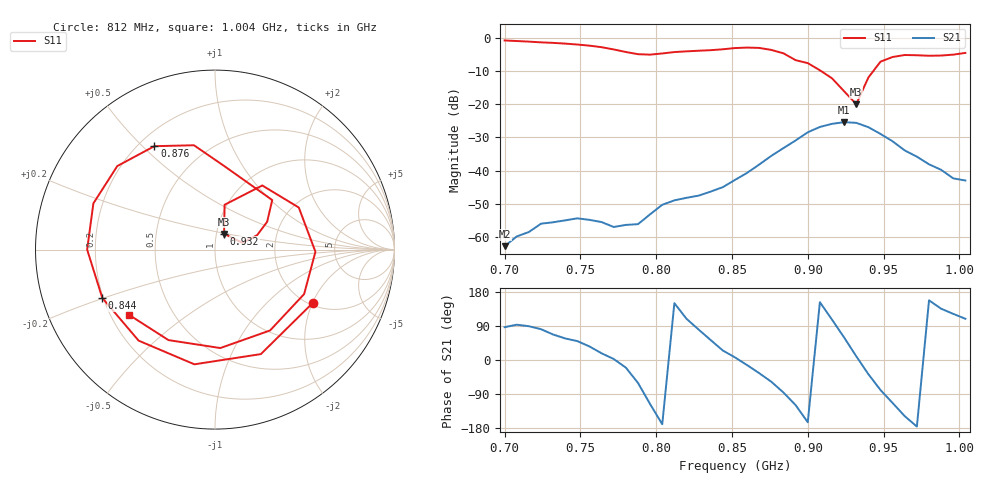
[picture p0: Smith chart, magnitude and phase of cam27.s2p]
# Hz S RI R 50
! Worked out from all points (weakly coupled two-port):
!   39 points, 700 MHz to 1.004 GHz, reference 50 ohm
!   highest |S21| = -25.37 dB at 924 MHz (marker M1); lowest = -62.9 dB at 700 MHz (marker M2)
!   lowest |S11| = -19.9 dB at 932 MHz (marker M3), VSWR 1.22, Z = 54.5 + j9.62 ohm
!   |S11| at or under -10 dB: 909.1 MHz to 943.1 MHz (33.94 MHz wide, 3.66 % of centre)
!   S12 and S22 are empty: the file has one direction only
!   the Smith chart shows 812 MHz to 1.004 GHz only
!   S11 on the Smith chart (normalised r, x): 812 MHz: 2.07, -2.01; 844 MHz: 0.20, -0.20; 876 MHz: 0.26, +0.54; 932 MHz: 1.09, +0.19; 1.004 GHz: 0.27, -0.31
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7e8  0.763 0.5299  4.21e-05 0.000717  0 0  0 0
7.24e8  0.8303 -0.2578  0.000237 0.00155  0 0  0 0
7.4e8  0.4471 -0.7021  0.000966 0.00148  0 0  0 0
7.56e8  -0.1959 -0.7498  0.00146 0.00105  0 0  0 0
7.72e8  -0.651 -0.1924  0.0014 6.37e-05  0 0  0 0
7.8e8  -0.578 0.2282  0.00141 -0.000517  0 0  0 0
7.88e8  -0.2272 0.5288  0.00076 -0.00135  0 0  0 0
7.96e8  0.2562 0.5057  -0.000967 -0.00195  0 0  0 0
8.04e8  0.5708 0.1499  -0.00298 -0.000553  0 0  0 0
8.12e8  0.5435 -0.2985  -0.00307 0.00178  0 0  0 0
8.28e8  -0.115 -0.6391  0.000701 0.00411  0 0  0 0
8.44e8  -0.6281 -0.2688  0.00509 0.00237  0 0  0 0
8.52e8  -0.7124 8.42e-05  0.00717 0.000859  0 0  0 0
8.76e8  -0.3377 0.5761  0.00896 -0.0141  0 0  0 0
9e8  0.319 0.2762  -0.0365 -0.0103  0 0  0 0
9.08e8  0.2905 0.1548  -0.0405 0.0211  0 0  0 0
9.24e8  0.1537 0.0377  0.0275 0.0464  0 0  0 0
9.32e8  0.0507 0.0874  0.0519 0.00901  0 0  0 0
9.48e8  0.2636 0.3573  0.00665 -0.0352  0 0  0 0
9.56e8  0.4669 0.2344  -0.011 -0.0254  0 0  0 0
9.8e8  0.307 -0.4504  -0.0115 0.00476  0 0  0 0
1.004e9  -0.4814 -0.3619  -0.00227 0.00669  0 0  0 0
